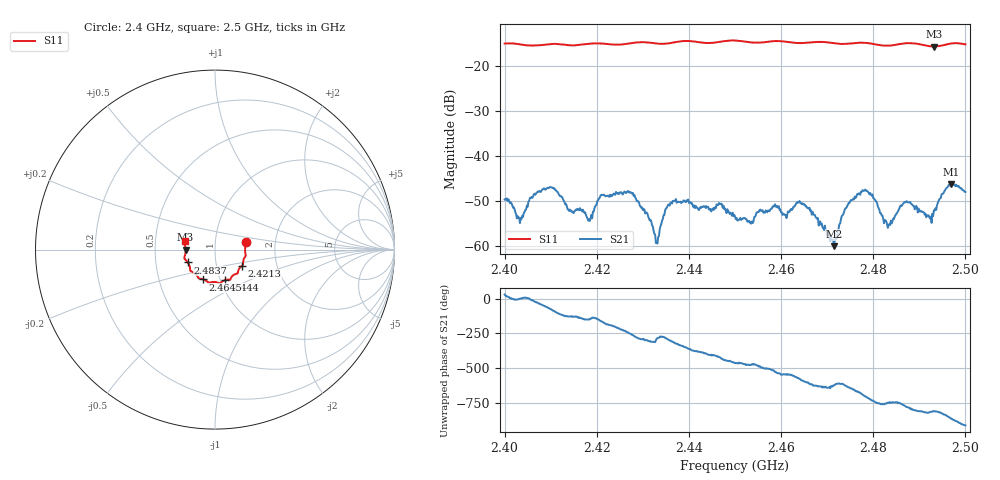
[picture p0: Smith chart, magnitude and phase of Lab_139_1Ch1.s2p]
# Hz S RI R 50
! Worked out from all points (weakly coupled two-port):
!   601 points, 2.4 GHz to 2.5 GHz, reference 50 ohm
!   highest |S21| = -46.21 dB at 2.4968 GHz (marker M1); lowest = -60.0 dB at 2.4715 GHz (marker M2)
!   lowest |S11| = -15.7 dB at 2.4932 GHz (marker M3), VSWR 1.39, Z = 35.9 - j0.05 ohm
!   |S11| at or under -10 dB: start of sweep to end of sweep
!   S12 and S22 are empty: the file has one direction only
!   S11 on the Smith chart (normalised r, x): 2.4 GHz: 1.41, +0.12; 2.4213 GHz: 1.33, -0.25; 2.444 GHz: 1.06, -0.37; 2.4645 GHz: 0.83, -0.29; 2.4837 GHz: 0.73, -0.11; 2.5 GHz: 0.71, +0.07
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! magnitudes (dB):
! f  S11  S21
! 2.4 GHz  -15.1  -49.6
! 2.4035 GHz  -15.3  -53.7
! 2.4103 GHz  -15.1  -47.0
! 2.4167 GHz  -15.3  -51.9
! 2.4185 GHz  -15.1  -54.4
! 2.4213 GHz  -15.1  -48.6
! 2.4277 GHz  -15.0  -48.3
! 2.4333 GHz  -15.1  -57.9
! 2.4367 GHz  -14.8  -50.0
! 2.444 GHz  -15.0  -51.3
! 2.45 GHz  -14.4  -53.4
! 2.4645 GHz  -15.0  -50.7
! 2.4667 GHz  -14.8  -53.0
! 2.4715 GHz  -15.0  -60.0
! 2.4742 GHz  -15.1  -51.4
! 2.4778 GHz  -14.9  -47.7
! 2.4833 GHz  -15.6  -55.2
! 2.4837 GHz  -15.5  -55.2
! 2.4872 GHz  -15.0  -50.0
! 2.4932 GHz  -15.7  -52.0
! 2.4968 GHz  -15.1  -46.2
! 2.5 GHz  -15.3  -47.9
